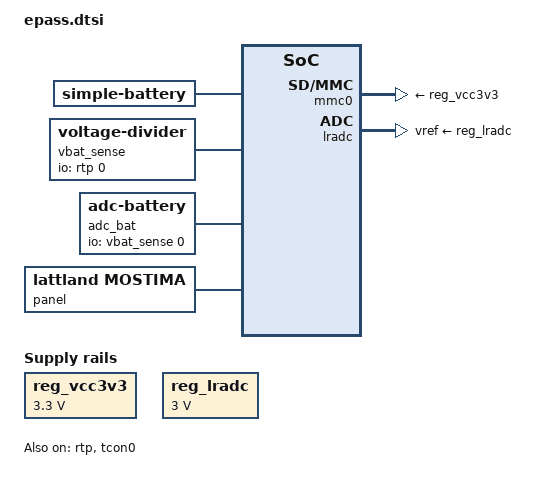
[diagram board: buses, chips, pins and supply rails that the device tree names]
// SPDX-License-Identifier: (GPL-2.0+ OR X11)

#include "epass_common.dtsi"

/ {
	chosen {
		// this bootargs will not work. change bootargs in uboot!
		bootargs = "i luv mostima";
	};

	reg_vcc3v3: vcc3v3 {
		compatible = "regulator-fixed";
		regulator-name = "vcc3v3";
		regulator-min-microvolt = <3300000>;
		regulator-max-microvolt = <3300000>;
	};

	reg_lradc: reg_lradc {
		compatible = "regulator-fixed";
		regulator-name = "lradc_vref";
		regulator-min-microvolt = <3000000>;
		regulator-max-microvolt = <3000000>;
	};

	bat: battery {
		compatible = "simple-battery";
		voltage-min-design-microvolt = <3300000>;
		voltage-max-design-microvolt = <4200000>;
		ocv-capacity-celsius = <20>;
		/*
		 * 初版由 drm_app_neo config.h 的 raw 阈值(2140/2230/2320/2410/2500)
		 * 按 raw*0.7324mV*2.294 换算,保持与现有图标分档一致;待上板
		 * 万用表标定后细化(真实 Li-ion OCV 曲线是非线性的)
		 */
		ocv-capacity-table-0 = <4200000 100>, <4050000 75>,
				       <3900000 50>, <3750000 25>,
				       <3600000 0>;
	};

	vbat_sense: voltage-divider {
		compatible = "voltage-divider";
		io-channels = <&rtp 0>;	/* PA0 = aux ADC chan0 */
		/* 分压比 2.294 由 app 旧阈值(full=raw2500≈4.2V)反推,待标定 */
		full-ohms = <2294>;
		output-ohms = <1000>;
		#io-channel-cells = <1>;
	};

	adc_bat: adc-battery {
		compatible = "adc-battery";
		io-channels = <&vbat_sense 0>;
		io-channel-names = "voltage";
		monitored-battery = <&bat>;
		/* 对应旧 raw 阈值 2600;充电器把采样轨拉到电池 OCV 达不到的电压 */
		charging-threshold-microvolt = <4370000>;
	};
};

&panel {
	compatible = "lattland,mostima", "simple-panel";	// 360x640 3 inch
};

&pio{
	rtp_pins_0: rtp-pins-0 {
		pins = "PA0";
		function = "rtp";
	};

	rtp_pins_01: rtp-pins-01 {
		pins = "PA0","PA1";
		function = "rtp";
	};

	lcd_rgb565_no_de_pins: lcd-rgb565-no-de-pins {
		pins = "PD1", "PD2", "PD3", "PD4", "PD5",
			"PD6", "PD7", "PD8", "PD9", "PD10", "PD11",
			"PD13", "PD14", "PD15", "PD16", "PD17",
			"PD18", "PD20", "PD21";
		function = "lcd";
	};

	i2s_pins_pe: i2s-pins-pe {
		pins = "PE3","PE5","PE6","PA1";
		function = "i2s";
	};

	i2s_pins_pa: i2s-pins-pa {
		pins = "PE3","PA2","PA3","PA1";
		function = "i2s";
	};
};

&uart1 {
	pinctrl-names = "default";
	pinctrl-0 = <&uart1_pa_pins>;
	status = "disabled";
};

&uart2 {
	pinctrl-names = "default";
	pinctrl-0 = <&uart2_pe_pins>;
	status = "disabled";
};

&mmc0 {
	vmmc-supply = <&reg_vcc3v3>;
};

&rtp {
	status = "okay";
	pinctrl-0 = <&rtp_pins_0>;
	pinctrl-names = "default";
};

&tcon0 {
	pinctrl-names = "default";
	pinctrl-0 = <&lcd_rgb565_no_de_pins>;
	status = "okay";
};

&lradc {
	vref-supply = <&reg_lradc>;
	status = "okay";
};

&i2c0 {
	pinctrl-names = "default";
	pinctrl-0 = <&i2c0_pd_pins>;
	status = "disabled";
};
